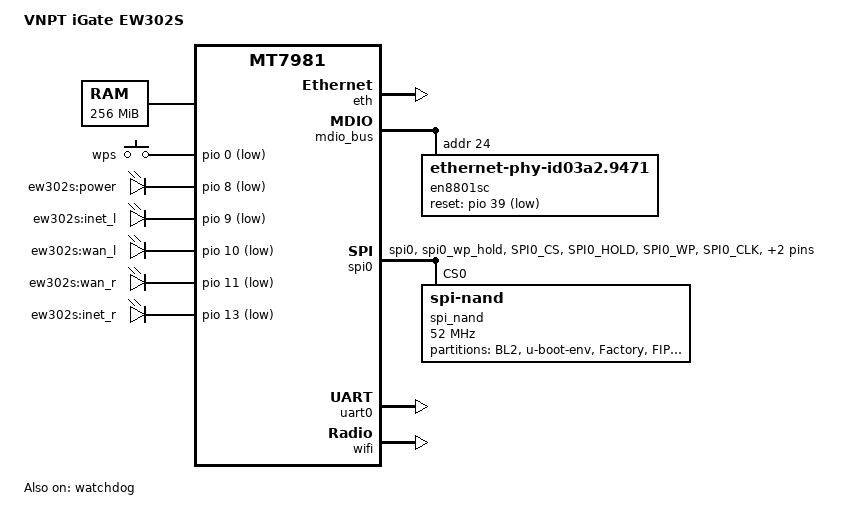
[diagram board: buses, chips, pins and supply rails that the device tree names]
// SPDX-License-Identifier: GPL-2.0-or-later OR MIT

/dts-v1/;
#include <dt-bindings/gpio/gpio.h>
#include <dt-bindings/input/input.h>
#include <dt-bindings/leds/common.h>
#include "mt7981b.dtsi"

/ {
	model = "VNPT iGate EW302S";
	compatible = "vnpt,igate-ew302s", "mediatek,mt7981";

	aliases {
		serial0 = &uart0;
		led-boot = &led_power;
		led-failsafe = &led_power;
		led-running = &led_power;
		led-upgrade = &led_power;
		label-mac-device = &gmac0;
	};

	chosen {
		stdout-path = "serial0:115200n8";
	};

	memory@40000000 {
		reg = <0 0x40000000 0 0x10000000>;
	};

	gpio-keys {
		compatible = "gpio-keys";

		wps {
			label = "wps";
			linux,code = <KEY_WPS_BUTTON>;
			gpios = <&pio 0 GPIO_ACTIVE_LOW>;
		};
	};

	leds {
		compatible = "gpio-leds";

		led_power: power {
			label = "ew302s:power";
			gpios = <&pio 8 GPIO_ACTIVE_LOW>;
			default-state = "on";
		};

		inet_l {
			label = "ew302s:inet_l";
			gpios = <&pio 9 GPIO_ACTIVE_LOW>;
		};

		wan_l {
			label = "ew302s:wan_l";
			gpios = <&pio 10 GPIO_ACTIVE_LOW>;
		};

		wan_r {
			label = "ew302s:wan_r";
			gpios = <&pio 11 GPIO_ACTIVE_LOW>;
		};

		inet_r {
			label = "ew302s:inet_r";
			gpios = <&pio 13 GPIO_ACTIVE_LOW>;
		};
	};
};

&eth {
	pinctrl-names = "default";
	pinctrl-0 = <&mdio_pins>;
	status = "okay";

	gmac0: mac@0 {
		compatible = "mediatek,eth-mac";
		reg = <0>;
		phy-mode = "sgmii";
		managed = "in-band-status";
		phy-handle = <&en8801sc>;
		nvmem-cells = <&macaddr_factory_4 1>;
		nvmem-cell-names = "mac-address";
	};

	gmac1: mac@1 {
		compatible = "mediatek,eth-mac";
		reg = <1>;
		phy-mode = "gmii";
		phy-handle = <&int_gbe_phy>;
		nvmem-cells = <&macaddr_factory_4 2>;
		nvmem-cell-names = "mac-address";
	};
};

&mdio_bus {
	en8801sc: ethernet-phy@24 {
		reg = <24>;
		compatible = "ethernet-phy-id03a2.9471";
		phy-mode = "sgmii";
		reset-gpios = <&pio 39 GPIO_ACTIVE_LOW>;
		reset-assert-us = <10000>;
		reset-deassert-us = <20000>;
	};
};

&sgmiisys0 {
	/delete-property/ mediatek,pnswap;
};

&pio {
	spi0_flash_pins: spi0-pins {
		mux {
			function = "spi";
			groups = "spi0", "spi0_wp_hold";
		};

		conf-pu {
			pins = "SPI0_CS", "SPI0_HOLD", "SPI0_WP";
			drive-strength = <8>;
			bias-pull-up = <103>;
		};

		conf-pd {
			pins = "SPI0_CLK", "SPI0_MOSI", "SPI0_MISO";
			drive-strength = <8>;
			bias-pull-down = <103>;
		};
	};
};

&spi0 {
	pinctrl-names = "default";
	pinctrl-0 = <&spi0_flash_pins>;
	status = "okay";

	spi_nand: flash@0 {
		#address-cells = <1>;
		#size-cells = <1>;
		compatible = "spi-nand";
		reg = <0>;
		spi-max-frequency = <52000000>;
		spi-tx-bus-width = <4>;
		spi-rx-bus-width = <4>;

		spi-cal-enable;
		spi-cal-mode = "read-data";
		spi-cal-datalen = <7>;
		spi-cal-data = /bits/ 8 <0x53 0x50 0x49 0x4e 0x41 0x4e 0x44>;
		spi-cal-addrlen = <5>;
		spi-cal-addr = /bits/ 32 <0x0 0x0 0x0 0x0 0x0>;

		mediatek,nmbm;
		mediatek,bmt-max-ratio = <1>;
		mediatek,bmt-max-reserved-blocks = <64>;

		partitions {
			compatible = "fixed-partitions";
			#address-cells = <1>;
			#size-cells = <1>;

			partition@0 {
				label = "BL2";
				reg = <0x000000 0x100000>;
				read-only;
			};

			partition@100000 {
				label = "u-boot-env";
				reg = <0x100000 0x080000>;
			};

			factory: partition@180000 {
				label = "Factory";
				reg = <0x180000 0x200000>;
				read-only;

				nvmem-layout {
					compatible = "fixed-layout";
					#address-cells = <1>;
					#size-cells = <1>;

					eeprom_factory: eeprom@0 {
						reg = <0x0 0x1000>;
					};

					macaddr_factory_4: macaddr@4 {
						compatible = "mac-base";
						reg = <0x4 0x6>;
						#nvmem-cell-cells = <1>;
					};
				};
			};

			partition@380000 {
				label = "FIP";
				reg = <0x380000 0x200000>;
				read-only;
			};

			partition@580000 {
				label = "ubi";
				reg = <0x580000 0x4000000>;
				compatible = "linux,ubi";
			};
		};
	};
};

&uart0 {
	status = "okay";
};

&watchdog {
	status = "okay";
};

&wifi {
	nvmem-cells = <&eeprom_factory>;
	nvmem-cell-names = "eeprom";
	status = "okay";
};
